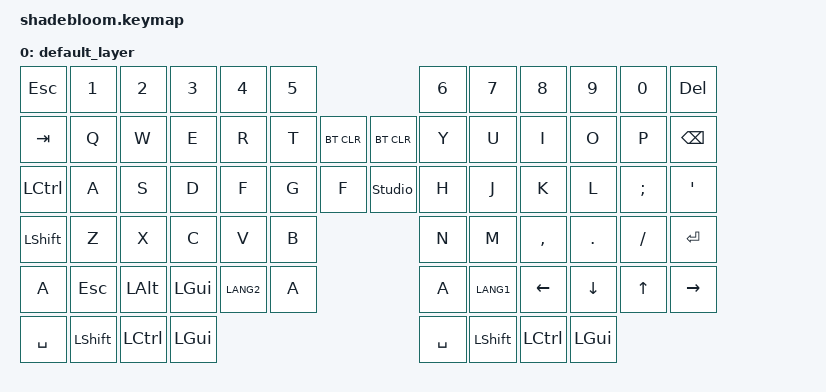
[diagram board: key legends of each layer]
#include <behaviors.dtsi>
#include <dt-bindings/zmk/keys.h>
#include <dt-bindings/zmk/bt.h>

#define DEFAULT 0

/ {
       keymap {
              compatible = "zmk,keymap";

              default_layer {
 // --------------------------------------------------------------------------------------------------------------------------
 // |  ESC   |   1    |   2    |   3    |   4    |   5    |            |   6    |   7    |   8    |   9    |   0    |  DEL   |
 // |  TAB   |   Q    |   W    |   E    |   R    |   T    |            |   Y    |   U    |   I    |   O    |   P    |  BSPC  |
 // |  CTRL  |   A    |   S    |   D    |   F    |   G    |            |   H    |   J    |   K    |   L    |   ;    |   '    |
 // |  SHIFT |   Z    |   X    |   C    |   V    |   B    |            |  RBKT  |   N    |   M    |   ,    |   .    |   /    |
 // | ADJUST |  ESC   |  ALT   |  LGUI  | EISUU  | LOWER  |            |  SPACE | RAISE  |  KANA  |  LEFT  |  DOWN  |  UP    |
                     bindings = <
       &kp ESC    &kp N1  &kp N2   &kp N3   &kp N4    &kp N5                               &kp N6    &kp N7    &kp N8    &kp N9     &kp N0    &kp DEL
       &kp TAB    &kp Q   &kp W    &kp E    &kp R     &kp T                                &kp Y     &kp U     &kp I     &kp O      &kp P     &kp BSPC
       &kp LCTRL  &kp A   &kp S    &kp D    &kp F     &kp G                                &kp H     &kp J     &kp K     &kp L      &kp SEMI  &kp SQT
       &kp LSHFT  &kp Z   &kp X    &kp C    &kp V     &kp B                                &kp N     &kp M     &kp COMMA &kp PERIOD &kp SLASH &kp RET
       &kp A      &kp ESC &kp LALT &kp LGUI &kp LANG2 &kp A                                &kp A     &kp LANG1 &kp LEFT  &kp DOWN   &kp UP    &kp RIGHT
       &kp SPACE &kp LSHIFT &kp LCTRL &kp LGUI                                               &kp SPACE &kp LSHIFT &kp LCTRL &kp LGUI
       &bt BT_CLR    &bt BT_CLR
       &kp F  &studio_unlock
                     >;
              };

              extra_layer_1 {
                     status = "reserved";
              };
              extra_layer_2 {
                     status = "reserved";
              };
              extra_layer_3 {
                     status = "reserved";
              };
       };
};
